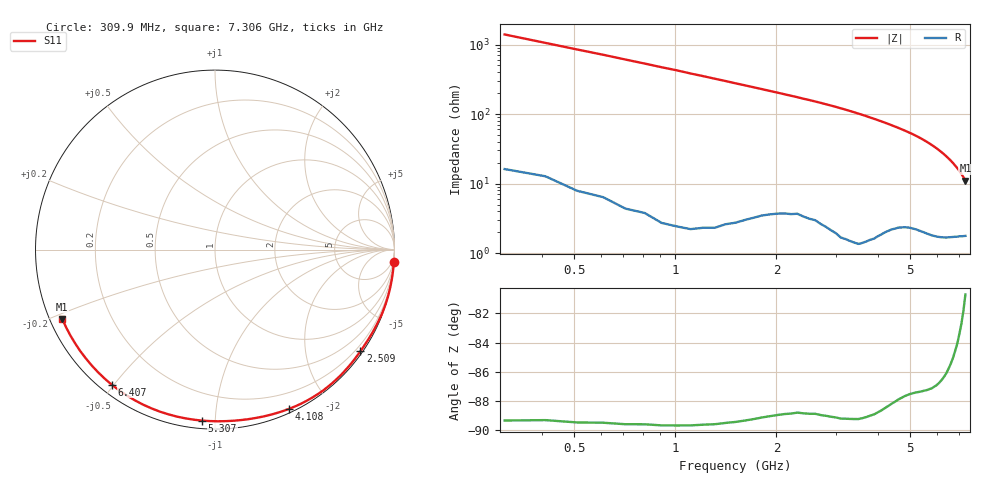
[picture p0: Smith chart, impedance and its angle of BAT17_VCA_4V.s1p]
! Infineon Technologies  Discrete & RF Semiconductors
! BAT17
! VCA = 4 V
! One-Port S-Parameters
# Hz  S  MA  R  50
!f  S11
!Hz  Mag  Ang
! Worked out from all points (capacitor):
!   71 points, 309.9 MHz to 7.306 GHz, reference 50 ohm
!   read as one part to ground: C = 368 fF near 309.9 MHz
!   lowest |Z| = 11 ohm at 7.306 GHz (marker M1)
!   S11 on the Smith chart (normalised r, x): 309.9 MHz: 0, -28; 2.509 GHz: 0.06, -3.18; 4.108 GHz: 0.04, -1.57; 5.307 GHz: 0.04, -0.93; 6.407 GHz: 0.03, -0.49; 7.306 GHz: 0.04, -0.22
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3.0985e8  0.9992 -4.1
8.096e8  0.9987 -10.7
1.2094e9  0.9982 -16.2
1.6092e9  0.9957 -21.8
2.10895e9  0.9907 -29.0
2.50875e9  0.9888 -34.9
2.70865e9  0.9889 -38.1
3.0085e9  0.9897 -43.1
3.2084e9  0.99 -46.7
3.4083e9  0.9897 -50.4
3.6082e9  0.9883 -54.4
3.8081e9  0.9852 -58.6
4.10795e9  0.9787 -65.0
4.4078e9  0.9703 -71.8
4.70765e9  0.9629 -78.9
5.0075e9  0.9576 -86.3
5.30735e9  0.9554 -94.3
5.4073e9  0.955 -97.0
5.6072e9  0.9543 -102.8
5.8071e9  0.9536 -108.8
6.007e9  0.9522 -114.9
6.2069e9  0.95 -121.1
6.4068e9  0.9474 -127.4
6.50675e9  0.9457 -130.5
6.70665e9  0.9426 -136.8
6.90655e9  0.9398 -143.1
7.10645e9  0.9371 -149.4
7.30635e9  0.9346 -155.5
